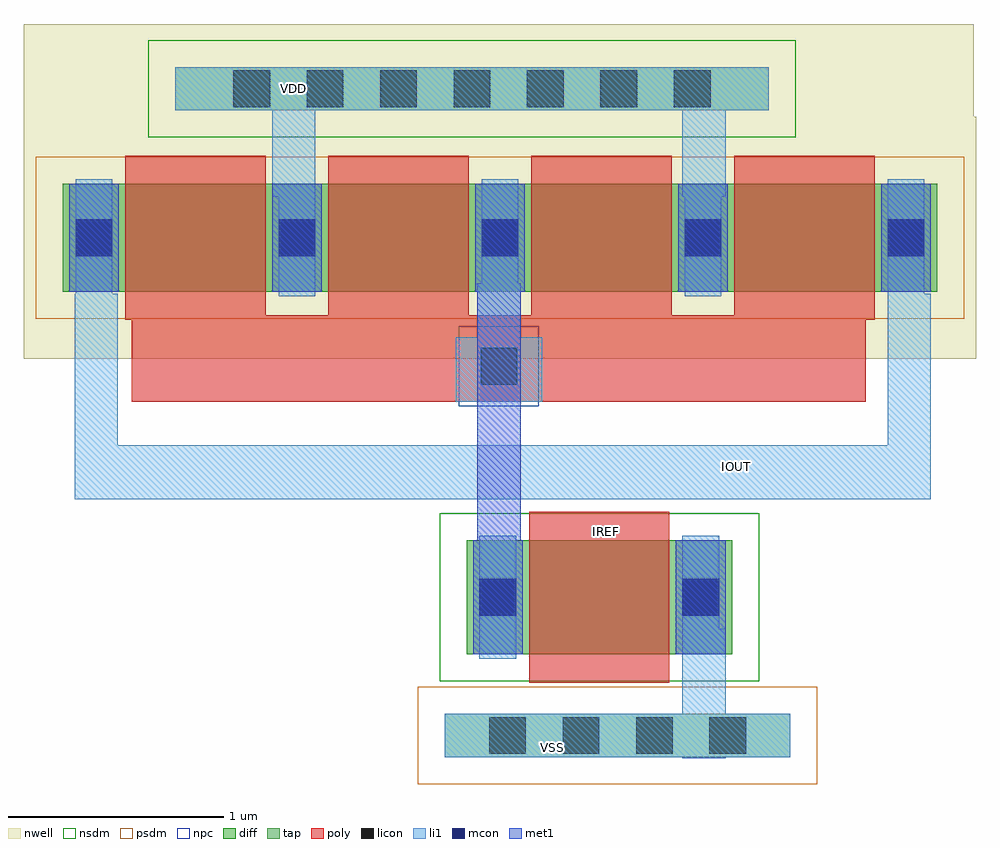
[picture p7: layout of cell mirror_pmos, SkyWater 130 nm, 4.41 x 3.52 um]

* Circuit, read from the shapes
.subckt mirror_pmos IOUT IREF VDD VSS
XM1 VSS IREF sky130_fd_pr__nfet_01v8_J2CJU4_0/D VSS sky130_fd_pr__nfet_01v8 w=0.53 l=0.65
XM2 VDD sky130_fd_pr__nfet_01v8_J2CJU4_0/D IOUT VDD sky130_fd_pr__pfet_01v8 w=0.5 l=0.65 m=2
XM3 sky130_fd_pr__nfet_01v8_J2CJU4_0/D sky130_fd_pr__nfet_01v8_J2CJU4_0/D VDD VDD sky130_fd_pr__pfet_01v8 w=0.5 l=0.65 m=2
.ends

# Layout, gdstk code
import gdstk
lib = gdstk.Library(unit=1e-6, precision=1e-09)
def R(c, l, rs):  # rectangles x0, y0, x1, y1
    for r in rs: c.add(gdstk.rectangle(r[:2], r[2:], *l))
def A(c, l, x, y, w, h, nx, ny, dx, dy):  # array of equal rectangles
    R(c, l, [(x+i*dx, y+j*dy, x+i*dx+w, y+j*dy+h) for i in range(nx) for j in range(ny)])
nwell = (64, 20)
diff = (65, 20)
tap = (65, 44)
poly = (66, 20)
licon = (66, 44)
li1 = (67, 20)
mcon = (67, 44)
met1 = (68, 20)
nsdm = (93, 44)
psdm = (94, 20)
npc = (95, 20)

sky130_fd_pr__nfet_01v8_ = lib.new_cell('sky130_fd_pr__nfet_01v8_J2CJU4')
R(sky130_fd_pr__nfet_01v8_, diff, [(-0.615,-0.265,0.615,0.265)])
R(sky130_fd_pr__nfet_01v8_, poly, [(-0.325,-0.395,0.325,0.395)])
R(sky130_fd_pr__nfet_01v8_, licon, [(-0.555,-0.085,-0.385,0.085), (0.385,-0.085,0.555,0.085)])
R(sky130_fd_pr__nfet_01v8_, li1, [(-0.555,-0.285,-0.385,0.285), (0.385,-0.285,0.555,0.285)])
R(sky130_fd_pr__nfet_01v8_, mcon, [(-0.555,-0.085,-0.385,0.085), (0.385,-0.085,0.555,0.085)])
R(sky130_fd_pr__nfet_01v8_, met1, [(-0.585,-0.265,-0.355,0.265), (0.355,-0.265,0.585,0.265)])
R(sky130_fd_pr__nfet_01v8_, nsdm, [(-0.74,-0.39,0.74,0.39)])
sky130_fd_pr__nfet_01v8_.add(gdstk.Label('D', (-0.47,0), layer=67, texttype=5))
sky130_fd_pr__nfet_01v8_.add(gdstk.Label('S', (0.47,0), layer=67, texttype=5))

sky130_fd_pr__pfet_01v8_ = lib.new_cell('sky130_fd_pr__pfet_01v8_XEEKXH')
R(sky130_fd_pr__pfet_01v8_, nwell, [(-2.205,-0.56,2.205,0.56)])
R(sky130_fd_pr__pfet_01v8_, diff, [(-2.025,-0.25,2.025,0.25)])
A(sky130_fd_pr__pfet_01v8_, poly, -1.735, -0.38, 0.65, 0.76, 4, 1, 0.94, 0)
A(sky130_fd_pr__pfet_01v8_, licon, -1.965, -0.085, 0.17, 0.17, 5, 1, 0.94, 0)
A(sky130_fd_pr__pfet_01v8_, li1, -1.965, -0.27, 0.17, 0.54, 5, 1, 0.94, 0)
A(sky130_fd_pr__pfet_01v8_, mcon, -1.965, -0.085, 0.17, 0.17, 5, 1, 0.94, 0)
A(sky130_fd_pr__pfet_01v8_, met1, -1.995, -0.25, 0.23, 0.5, 5, 1, 0.94, 0)
R(sky130_fd_pr__pfet_01v8_, psdm, [(-2.15,-0.375,2.15,0.375)])
sky130_fd_pr__pfet_01v8_.add(gdstk.Label('D0', (-1.88,0), layer=67, texttype=5))
sky130_fd_pr__pfet_01v8_.add(gdstk.Label('S1', (-0.94,0), layer=67, texttype=5))
sky130_fd_pr__pfet_01v8_.add(gdstk.Label('D2', (0,0), layer=67, texttype=5))
sky130_fd_pr__pfet_01v8_.add(gdstk.Label('S3', (0.94,0), layer=67, texttype=5))

mirror_pmos = lib.new_cell('mirror_pmos')
R(mirror_pmos, nwell, [(4.15,-3.3,8.55,-2.85)])
R(mirror_pmos, tap, [(6.1,-6.245,7.7,-6.045), (4.85,-3.25,7.6,-3.05)])
R(mirror_pmos, poly, [(6.49,-5.24,7.14,-5.11), (4.65,-4.6,8.05,-4.2)])
A(mirror_pmos, licon, 6.305, -6.23, 0.17, 0.17, 4, 1, 0.34, 0)
A(mirror_pmos, licon, 5.12, -3.235, 0.17, 0.17, 7, 1, 0.34, 0)
R(mirror_pmos, licon, [(6.265,-4.52,6.435,-4.35)])
R(mirror_pmos, li1, [(7.2,-6.25,7.4,-6.245), (6.1,-6.245,7.7,-6.045), (7.2,-6.045,7.4,-5.65), (4.385,-5.05,8.35,-4.8), (4.385,-4.8,4.585,-4.1), (8.15,-4.8,8.35,-4.1), (6.15,-4.6,6.55,-4.3), (6.25,-4.3,6.45,-4.05), (5.3,-3.65,5.5,-3.25), (7.2,-3.65,7.4,-3.25), (4.85,-3.25,7.6,-3.05)])
R(mirror_pmos, met1, [(6.25,-5.4,6.45,-4)])
R(mirror_pmos, nsdm, [(4.725,-3.375,7.725,-2.925)])
R(mirror_pmos, psdm, [(5.975,-6.37,7.825,-5.92)])
R(mirror_pmos, npc, [(6.165,-4.62,6.535,-4.25)])
mirror_pmos.add(gdstk.Reference(sky130_fd_pr__nfet_01v8_, (6.815,-5.505)))
mirror_pmos.add(gdstk.Reference(sky130_fd_pr__pfet_01v8_, (6.355,-3.84)))
mirror_pmos.add(gdstk.Label('VDD', (5.4,-3.15), layer=67, texttype=5))
mirror_pmos.add(gdstk.Label('IOUT', (7.45,-4.9), layer=67, texttype=5))
mirror_pmos.add(gdstk.Label('IREF', (6.85,-5.2), layer=66, texttype=5))
mirror_pmos.add(gdstk.Label('VSS', (6.6,-6.2), layer=67, texttype=5))

lib.write_gds('mirror_pmos.gds')
